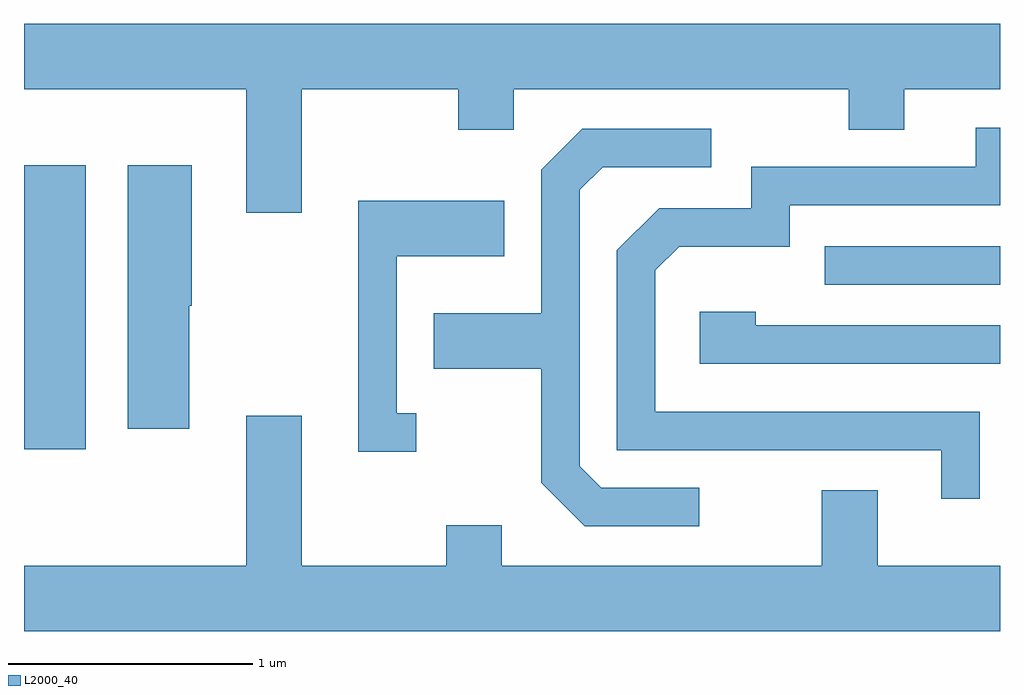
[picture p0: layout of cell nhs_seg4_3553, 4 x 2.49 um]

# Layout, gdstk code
import gdstk
lib = gdstk.Library(unit=1e-6, precision=1e-09)
def R(c, l, rs):  # rectangles x0, y0, x1, y1
    for r in rs: c.add(gdstk.rectangle(r[:2], r[2:], *l))
def P(c, l, *ps):  # polygons
    for p in ps: c.add(gdstk.Polygon(p, *l))
L2000_40 = (2000, 40)

nhs_seg4_3553 = lib.new_cell('nhs_seg4_3553')
R(nhs_seg4_3553, L2000_40, [(289.611,1288.821,289.864,1289.984), (292.893,1289.496,293.611,1289.654)])
P(nhs_seg4_3553, L2000_40, [(290.749,1290.296),(291.391,1290.296),(291.391,1290.131),(291.619,1290.131),(291.619,1290.296),(292.991,1290.296),(292.991,1290.131),(293.219,1290.131),(293.219,1290.296),(293.611,1290.296),(293.611,1290.564),(289.611,1290.564),(289.611,1290.296),(290.521,1290.296),(290.521,1289.791),(290.749,1289.791)],
  [(293.529,1288.974),(292.199,1288.974),(292.199,1289.554),(292.297,1289.651),(292.749,1289.651),(292.749,1289.821),(293.611,1289.821),(293.611,1290.139),(293.511,1290.139),(293.511,1289.979),(292.591,1289.979),(292.591,1289.809),(292.214,1289.809),(292.041,1289.637),(292.041,1288.816),(293.371,1288.816),(293.371,1288.618),(293.529,1288.618)],
  [(292.378,1288.664),(291.977,1288.664),(291.889,1288.752),(291.889,1289.884),(291.982,1289.976),(292.428,1289.976),(292.428,1290.134),(291.899,1290.134),(291.731,1289.967),(291.731,1289.379),(291.291,1289.379),(291.291,1289.151),(291.731,1289.151),(291.731,1288.684),(291.909,1288.506),(292.378,1288.506)],
  [(290.289,1289.41),(290.299,1289.41),(290.299,1289.984),(290.036,1289.984),(290.036,1288.906),(290.289,1288.906)],
  [(291.218,1288.969),(291.139,1288.969),(291.139,1289.611),(291.579,1289.611),(291.579,1289.839),(290.981,1289.839),(290.981,1288.811),(291.218,1288.811)],
  [(293.611,1289.329),(292.609,1289.329),(292.609,1289.384),(292.381,1289.384),(292.381,1289.171),(293.611,1289.171)],
  [(293.611,1288.344),(293.109,1288.344),(293.109,1288.654),(292.881,1288.654),(292.881,1288.344),(291.569,1288.344),(291.569,1288.509),(291.341,1288.509),(291.341,1288.344),(290.749,1288.344),(290.749,1288.959),(290.521,1288.959),(290.521,1288.344),(289.611,1288.344),(289.611,1288.076),(293.611,1288.076)])

lib.write_gds('nhs_seg4_3553.gds')
